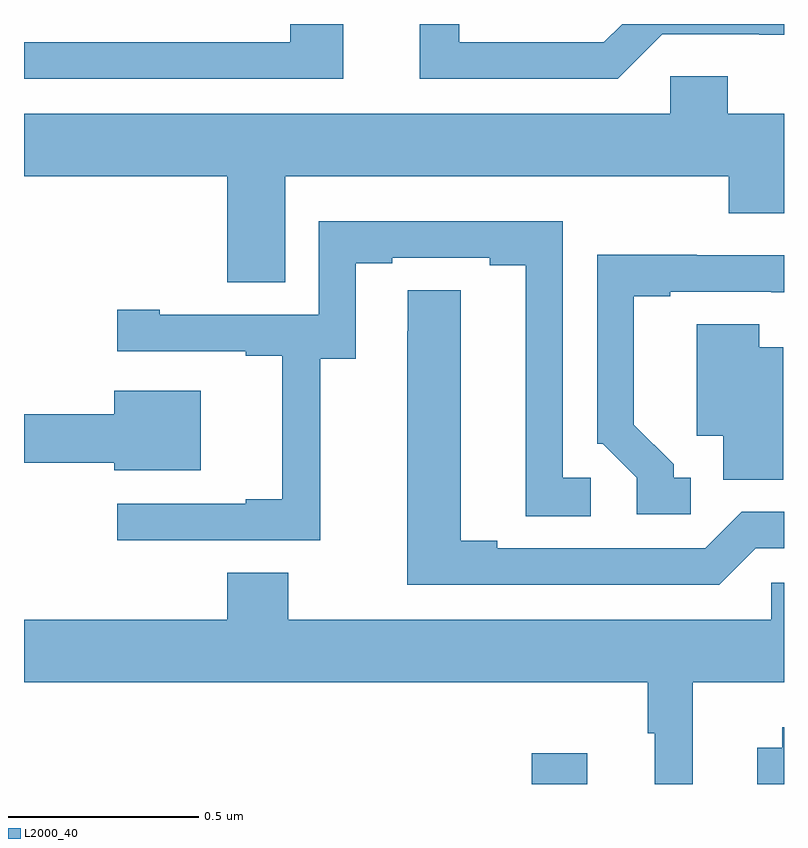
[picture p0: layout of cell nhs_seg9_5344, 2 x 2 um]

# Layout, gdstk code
import gdstk
lib = gdstk.Library(unit=1e-6, precision=1e-09)
def R(c, l, rs):  # rectangles x0, y0, x1, y1
    for r in rs: c.add(gdstk.rectangle(r[:2], r[2:], *l))
def P(c, l, *ps):  # polygons
    for p in ps: c.add(gdstk.Polygon(p, *l))
L2000_40 = (2000, 40)

nhs_seg9_5344 = lib.new_cell('nhs_seg9_5344')
R(nhs_seg9_5344, L2000_40, [(179.336,1181.5,179.482,1181.581)])
P(nhs_seg9_5344, L2000_40, [(178.84,1183.5),(178.7,1183.5),(178.7,1183.452),(178,1183.452),(178,1183.356),(178.84,1183.356)],
  [(179.679,1183.473),(179.935,1183.473),(179.935,1183.472),(180,1183.472),(180,1183.5),(179.574,1183.5),(179.526,1183.452),(179.146,1183.452),(179.146,1183.5),(179.042,1183.5),(179.042,1183.356),(179.562,1183.356)],
  [(178,1183.1),(178.535,1183.1),(178.535,1182.82),(178.687,1182.82),(178.687,1183.1),(179.855,1183.1),(179.855,1183.002),(180,1183.002),(180,1183.264),(179.852,1183.264),(179.852,1183.362),(179.7,1183.362),(179.7,1183.264),(178,1183.264)],
  [(178.779,1182.619),(178.873,1182.619),(178.873,1182.87),(178.969,1182.87),(178.969,1182.885),(179.225,1182.885),(179.225,1182.865),(179.321,1182.865),(179.321,1182.205),(179.491,1182.205),(179.491,1182.306),(179.418,1182.306),(179.418,1182.981),(178.776,1182.981),(178.776,1182.735),(178.357,1182.735),(178.357,1182.748),(178.245,1182.748),(178.245,1182.639),(178.583,1182.639),(178.583,1182.627),(178.679,1182.627),(178.679,1182.25),(178.583,1182.25),(178.583,1182.237),(178.245,1182.237),(178.245,1182.141),(178.779,1182.141)],
  [(179.755,1182.306),(179.71,1182.306),(179.71,1182.341),(179.605,1182.446),(179.605,1182.783),(179.701,1182.783),(179.701,1182.795),(179.966,1182.795),(179.966,1182.794),(180,1182.794),(180,1182.891),(179.771,1182.891),(179.771,1182.893),(179.508,1182.893),(179.508,1182.396),(179.523,1182.396),(179.613,1182.306),(179.613,1182.21),(179.755,1182.21)],
  [(179.925,1182.12),(180,1182.12),(180,1182.216),(179.889,1182.216),(179.793,1182.12),(179.245,1182.12),(179.245,1182.14),(179.149,1182.14),(179.149,1182.8),(179.01,1182.8),(179.01,1182.692),(179.009,1182.692),(179.009,1182.024),(179.829,1182.024)],
  [(179.998,1182.649),(179.935,1182.649),(179.935,1182.71),(179.771,1182.71),(179.771,1182.416),(179.84,1182.416),(179.84,1182.301),(179.998,1182.301)],
  [(178.465,1182.535),(178.238,1182.535),(178.238,1182.473),(178,1182.473),(178,1182.345),(178.238,1182.345),(178.238,1182.326),(178.465,1182.326)],
  [(180,1182.03),(179.967,1182.03),(179.967,1181.932),(178.695,1181.932),(178.695,1182.056),(178.535,1182.056),(178.535,1181.932),(178,1181.932),(178,1181.768),(179.641,1181.768),(179.641,1181.634),(179.66,1181.634),(179.66,1181.5),(179.76,1181.5),(179.76,1181.768),(180,1181.768)],
  [(180,1181.65),(179.996,1181.65),(179.996,1181.596),(179.93,1181.596),(179.93,1181.5),(180,1181.5)])

lib.write_gds('nhs_seg9_5344.gds')
